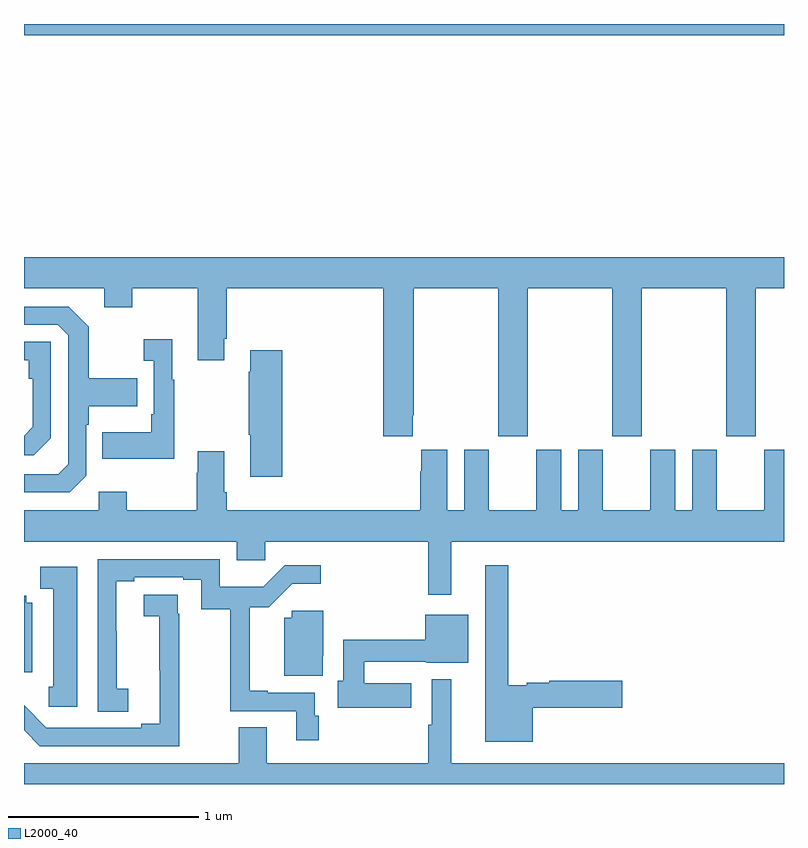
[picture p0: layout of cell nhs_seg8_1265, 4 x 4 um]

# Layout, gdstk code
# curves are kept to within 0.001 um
import gdstk
lib = gdstk.Library(unit=1e-6, precision=1e-09)
def R(c, l, rs):  # rectangles x0, y0, x1, y1
    for r in rs: c.add(gdstk.rectangle(r[:2], r[2:], *l))
def P(c, l, *ps):  # polygons
    for p in ps: c.add(gdstk.Polygon(p, *l))
L2000_40 = (2000, 40)

nhs_seg8_1265 = lib.new_cell('nhs_seg8_1265')
R(nhs_seg8_1265, L2000_40, [(191,1109.84,195,1109.9)])
P(nhs_seg8_1265, L2000_40, [(193.045,1107.841),(193.05,1107.841),(193.05,1108.508),(193.495,1108.508),(193.495,1107.729),(193.65,1107.729),(193.65,1108.508),(194.095,1108.508),(194.095,1107.729),(194.25,1107.729),(194.25,1108.508),(194.695,1108.508),(194.695,1107.729),(194.85,1107.729),(194.85,1108.508),(195,1108.508),(195,1108.672),(191,1108.672),(191,1108.508),(191.423,1108.508),(191.423,1108.409),(191.571,1108.409),(191.571,1108.508),(191.915,1108.508),(191.915,1108.131),(192.055,1108.131),(192.055,1108.243),(192.068,1108.243),(192.068,1108.508),(192.89,1108.508),(192.89,1107.729),(193.045,1107.729)],
  [(191.328,1107.522),(191.328,1107.791),(191.341,1107.791),(191.341,1107.887),(191.597,1107.887),(191.597,1108.035),(191.341,1108.035),(191.341,1108.307),(191.235,1108.413),(191,1108.413),(191,1108.317),(191.178,1108.317),(191.232,1108.263),(191.232,1107.582),(191.181,1107.531),(191,1107.531),(191,1107.435),(191.241,1107.435)],
  [(191.791,1108.027),(191.779,1108.027),(191.779,1108.24),(191.631,1108.24),(191.631,1108.127),(191.682,1108.127),(191.682,1107.847),(191.67,1107.847),(191.67,1107.751),(191.413,1107.751),(191.413,1107.611),(191.791,1107.611)],
  [(191.142,1107.72),(191.142,1108.227),(191,1108.227),(191,1108.131),(191.026,1108.131),(191.026,1108.034),(191.046,1108.034),(191.046,1107.78),(191,1107.734),(191,1107.63),(191.052,1107.63)],
  [(192.359,1108.183),(192.191,1108.183),(192.191,1108.07),(192.184,1108.07),(192.184,1107.739),(192.191,1107.739),(192.191,1107.516),(192.359,1107.516)],
  [(192.119,1107.078),(192.271,1107.078),(192.271,1107.176),(193.128,1107.176),(193.128,1106.895),(193.249,1106.895),(193.249,1107.176),(195,1107.176),(195,1107.658),(194.897,1107.658),(194.897,1107.34),(194.647,1107.34),(194.647,1107.658),(194.516,1107.658),(194.516,1107.34),(194.428,1107.34),(194.428,1107.658),(194.297,1107.658),(194.297,1107.34),(194.047,1107.34),(194.047,1107.658),(193.916,1107.658),(193.916,1107.34),(193.828,1107.34),(193.828,1107.658),(193.697,1107.658),(193.697,1107.34),(193.447,1107.34),(193.447,1107.658),(193.316,1107.658),(193.316,1107.34),(193.228,1107.34),(193.228,1107.658),(193.091,1107.658),(193.091,1107.545),(193.085,1107.545),(193.085,1107.34),(192.068,1107.34),(192.068,1107.436),(192.055,1107.436),(192.055,1107.652),(191.915,1107.652),(191.915,1107.539),(191.908,1107.539),(191.908,1107.34),(191.541,1107.34),(191.541,1107.439),(191.394,1107.439),(191.394,1107.34),(191,1107.34),(191,1107.176),(192.119,1107.176)],
  [(192.551,1106.259),(192.531,1106.259),(192.531,1106.379),(192.283,1106.379),(192.283,1106.392),(192.188,1106.392),(192.188,1106.829),(192.287,1106.829),(192.413,1106.954),(192.562,1106.954),(192.562,1107.051),(192.372,1107.051),(192.259,1106.938),(192.03,1106.938),(192.03,1107.084),(191.388,1107.084),(191.388,1106.281),(191.548,1106.281),(191.548,1106.401),(191.487,1106.401),(191.487,1106.705),(191.485,1106.705),(191.485,1106.968),(191.581,1106.968),(191.581,1106.988),(191.837,1106.988),(191.837,1106.974),(191.934,1106.974),(191.934,1106.821),(192.085,1106.821),(192.085,1106.283),(192.434,1106.283),(192.434,1106.13),(192.551,1106.13)],
  [(193.678,1106.302),(194.149,1106.302),(194.149,1106.444),(193.764,1106.444),(193.764,1106.432),(193.646,1106.432),(193.646,1106.419),(193.549,1106.419),(193.549,1107.052),(193.427,1107.052),(193.427,1106.123),(193.678,1106.123)],
  [(191.281,1107.043),(191.085,1107.043),(191.085,1106.928),(191.153,1106.928),(191.153,1106.412),(191.131,1106.412),(191.131,1106.307),(191.281,1106.307)],
  [(191.816,1106.795),(191.81,1106.795),(191.81,1106.897),(191.631,1106.897),(191.631,1106.782),(191.713,1106.782),(191.714,1106.216),(191.618,1106.216),(191.618,1106.196),(191.118,1106.196),(191,1106.314),(191,1106.182),(191.082,1106.1),(191.816,1106.1)],
  [(191.044,1106.854),(191.012,1106.854),(191.012,1106.891),(191,1106.891),(191,1106.487),(191.044,1106.487)],
  [(192.573,1106.575),(192.574,1106.575),(192.574,1106.812),(192.408,1106.812),(192.408,1106.776),(192.371,1106.776),(192.371,1106.471),(192.573,1106.471)],
  [(193.039,1106.431),(192.79,1106.431),(192.79,1106.544),(193.116,1106.544),(193.116,1106.537),(193.339,1106.537),(193.339,1106.791),(193.112,1106.791),(193.112,1106.66),(192.681,1106.66),(192.681,1106.444),(192.651,1106.444),(192.651,1106.302),(193.039,1106.302)],
  [(195,1106.008),(193.249,1106.008),(193.249,1106.452),(193.145,1106.452),(193.145,1106.213),(193.128,1106.213),(193.128,1106.008),(192.277,1106.008),(192.277,1106.198),(192.13,1106.198),(192.13,1106.008),(191,1106.008),(191,1105.9),(195,1105.9)])

lib.write_gds('nhs_seg8_1265.gds')
